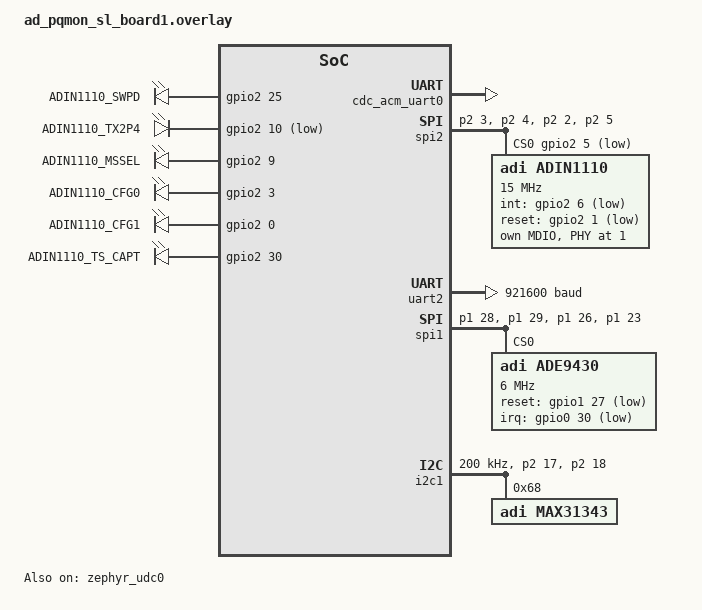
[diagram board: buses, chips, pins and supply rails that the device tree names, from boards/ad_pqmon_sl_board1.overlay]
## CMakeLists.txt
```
cmake_minimum_required(VERSION 3.20.0)
find_package(Zephyr REQUIRED HINTS $ENV{ZEPHYR_BASE})
project(pqmon_zephyr)

# DTS binding for MAX31343 RTC
list(APPEND DTS_ROOT ${CMAKE_CURRENT_SOURCE_DIR})

# USB compat shims (must come BEFORE HAL includes so wrap_max32_usb.h
# and mcr_regs.h are found before the upstream versions)
target_include_directories(zephyr_interface BEFORE INTERFACE
    ${CMAKE_CURRENT_SOURCE_DIR}/drivers/usb_compat)

# Include directories
zephyr_include_directories(drivers)
zephyr_include_directories(lib/pqlib/include)
zephyr_include_directories(src)
zephyr_include_directories(src/iio)

# Zephyr PTP subsystem internals (clock.h, port.h, ds.h, state_machine.h)
# Needed by ptp_status.c to query PTP port state and sync accuracy
target_include_directories(app PRIVATE ${ZEPHYR_BASE}/subsys/net/lib/ptp)

# Application sources
target_sources(app PRIVATE
    src/main.c
    src/no_os_shim.c
    src/afe_config.c
    src/afe_calibration.c
    src/flash_storage.c
    src/pqlib_afe.c
    src/pqlib_example.c
    src/pqlib_convert.c
    src/ptp_clock_adin1110_zephyr.c
    src/adin1110_early_init.c
    src/rtc_max31343.c
    src/iio/iiod.c
    src/iio_pqm.c
    src/iio_server.c
    src/ptp_status.c
    src/afe_sync.c
    src/uart_export.c
    src/waveform_buffer.c
)

# Link PQLib static library
target_link_libraries(app PRIVATE
    ${CMAKE_CURRENT_SOURCE_DIR}/lib/pqlib/libadi_pqlib_cm4_gcc.a
)
```

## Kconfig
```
mainmenu "PQMON IIO Application"

source "Kconfig.zephyr"

choice IIO_TRANSPORT
	prompt "IIO transport"
	default IIO_TRANSPORT_USB

config IIO_TRANSPORT_USB
	bool "USB CDC/ACM"
	depends on USB_DEVICE_STACK_NEXT && USBD_CDC_ACM_CLASS

config IIO_TRANSPORT_TCP
	bool "TCP over T1L (port 30431)"
	depends on NET_TCP && NET_SOCKETS

endchoice

config WAVEFORM_BUFFER
	bool "Waveform ring buffer"
	default n
	help
	  Enable ring buffer that captures raw ADE9430 waveform blocks
	  from the AFE thread. Required by WAVEFORM_UART_EXPORT and
	  future IIO buffer streaming.

config WAVEFORM_UART_EXPORT
	bool "Stream waveform data over UART2 (binary)"
	depends on WAVEFORM_BUFFER
	default n
	help
	  Spawn a dedicated thread that reads waveform blocks from the
	  ring buffer and streams them as binary frames over UART2.
	  The 1Hz CSV export continues independently.

config WAVEFORM_CHANNEL_MASK
	hex "Default waveform channel mask"
	depends on WAVEFORM_BUFFER
	default 0x7F
	help
	  Bitmask selecting which channels to export. Bits follow the
	  ADE9430 WFB BURST_ALL_CHAN hardware order:
	  Bit 0=IA, 1=VA, 2=IB, 3=VB, 4=IC, 5=VC, 6=IN.
	  0x7F = all 7 channels.
```

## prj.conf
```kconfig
# PQMON Shared Configuration
# Common settings for both master and slave boards
# Board-specific overrides in prj_master.conf / prj_slave.conf

# Basic Configuration
CONFIG_GPIO=y
CONFIG_SERIAL=y
CONFIG_CONSOLE=y
CONFIG_UART_CONSOLE=y
CONFIG_UART_INTERRUPT_DRIVEN=y
CONFIG_PRINTK=y

# SPI for ADIN1110 + ADE9430
CONFIG_SPI=y

# Enhanced Networking Stack for PTP
CONFIG_NETWORKING=y
CONFIG_NET_L2_ETHERNET=y
CONFIG_NET_IPV4=y
CONFIG_NET_IPV6=n
CONFIG_NET_UDP=y
CONFIG_NET_SOCKETS=y
CONFIG_POSIX_API=y

# Ethernet Driver for ADIN1110
CONFIG_ETH_ADIN2111=y
CONFIG_ETH_ADIN2111_SPI_CFG0=y
CONFIG_ETH_ADIN2111_TIMEOUT=1000

# === FULL ZEPHYR PTP SUBSYSTEM ===
CONFIG_PTP=y
CONFIG_PTP_CLOCK=y
CONFIG_PTP_CLOCK_INIT_PRIORITY=85

# PTP Protocol Configuration
CONFIG_PTP_ORDINARY_CLOCK=y
CONFIG_PTP_CLOCK_ACCURACY_100NS=y

# Network Packet Timestamping (CRITICAL for hardware timestamps)
CONFIG_NET_PKT_TIMESTAMP=y
CONFIG_NET_PKT_TIMESTAMP_THREAD=y
CONFIG_NET_PKT_TXTIME=y

# Logging
CONFIG_LOG=y
CONFIG_LOG_MAX_LEVEL=4
CONFIG_LOG_MODE_DEFERRED=y
CONFIG_ETHERNET_LOG_LEVEL_WRN=y
CONFIG_PTP_LOG_LEVEL_INF=y
CONFIG_NET_LOG=y

# Network Buffer Configuration
CONFIG_NET_BUF_RX_COUNT=32
CONFIG_NET_BUF_TX_COUNT=32
CONFIG_NET_PKT_RX_COUNT=32
CONFIG_NET_PKT_TX_COUNT=32
CONFIG_NET_MAX_CONTEXTS=10

# Stack sizes - larger for PQLib processing
CONFIG_MAIN_STACK_SIZE=8192
CONFIG_SYSTEM_WORKQUEUE_STACK_SIZE=4096

# Random number generator
# TEST_RANDOM_GENERATOR: non-cryptographic PRNG, sufficient for PTP
# (random port IDs). A production device with hardware RNG would use
# CONFIG_ENTROPY_HAS_DRIVER instead.
CONFIG_TEST_RANDOM_GENERATOR=y
CONFIG_ENTROPY_GENERATOR=y

# Memory Configuration - larger for PQLib
CONFIG_HEAP_MEM_POOL_SIZE=16384
# C library heap for iiod calloc (~7KB iiod_desc struct)
CONFIG_COMMON_LIBC_MALLOC_ARENA_SIZE=16384

# Static Network Configuration (common)
CONFIG_NET_CONFIG_SETTINGS=y
CONFIG_NET_CONFIG_NEED_IPV4=y
CONFIG_NET_CONFIG_MY_IPV4_NETMASK="255.255.255.0"
CONFIG_NET_CONFIG_MY_IPV4_GW="192.0.2.1"

# I2C for MAX31343 RTC
CONFIG_I2C=y
CONFIG_RTC=y

# Disable init priority checking — required because our custom PTP clock
# driver (adin1110_ptp_clock) uses init_priority=85 which must come after
# the ADIN1110 ethernet driver (init_priority=80), but the checker flags
# the DT parent-child relationship as a priority violation.
CONFIG_CHECK_INIT_PRIORITIES=n

# === CMSIS-DSP for PQLib ===
CONFIG_CMSIS_DSP=y
CONFIG_CMSIS_DSP_TRANSFORM=y
CONFIG_CMSIS_DSP_COMPLEXMATH=y
CONFIG_CMSIS_DSP_BASICMATH=y
CONFIG_CMSIS_DSP_FASTMATH=y
CONFIG_CMSIS_DSP_STATISTICS=y
CONFIG_CMSIS_DSP_FILTERING=y

# Float support for printf
CONFIG_CBPRINTF_FP_SUPPORT=y

# Hardware FPU - softabi to match PQLib .a (compiled without hard-float)
CONFIG_FPU=y
CONFIG_FP_SOFTABI=y

# Flash + NVS for calibration storage
CONFIG_FLASH=y
CONFIG_FLASH_MAP=y
CONFIG_NVS=y

# IIO Transport: TCP over T1L
CONFIG_NET_TCP=y
CONFIG_NET_CONTEXT_RCVTIMEO=y
CONFIG_NET_MAX_CONN=16
CONFIG_NET_TCP_TIME_WAIT_DELAY=250

# IIO Transport on USB
CONFIG_IIO_TRANSPORT_USB=y
CONFIG_USB_DEVICE_STACK_NEXT=y
CONFIG_USBD_CDC_ACM_CLASS=y

# Waveform export over UART2
# When enabled, UART2 carries binary waveform frames instead of CSV.
# CSV data remains available via IIO attributes over USB/TCP.
CONFIG_WAVEFORM_BUFFER=y
CONFIG_WAVEFORM_UART_EXPORT=y
CONFIG_WAVEFORM_CHANNEL_MASK=0x7F

# Suppress Zephyr subsystem log noise
CONFIG_USBD_LOG_LEVEL_ERR=y
CONFIG_USBD_CDC_ACM_LOG_LEVEL_ERR=y
CONFIG_UDC_DRIVER_LOG_LEVEL_ERR=y
CONFIG_PHY_LOG_LEVEL_WRN=y
CONFIG_NVS_LOG_LEVEL_WRN=y
```

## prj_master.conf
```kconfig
# PQMON Master-specific Configuration
# Use with: -DCONF_FILE="prj.conf;prj_master.conf"

# Static Network Configuration - Master
CONFIG_NET_CONFIG_MY_IPV4_ADDR="192.0.2.1"

# PTP BTCA - Master (lower = higher priority)
CONFIG_PTP_PRIORITY1=100
CONFIG_PTP_PRIORITY2=100
```

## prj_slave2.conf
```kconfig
# PQMON Slave 2 (Board 3) Configuration
# Use with: -DCONF_FILE="prj.conf;prj_slave2.conf"

# Static Network Configuration - Slave 2
CONFIG_NET_CONFIG_MY_IPV4_ADDR="192.0.2.3"

# PTP BTCA - Slave (higher = lower priority)
CONFIG_PTP_PRIORITY1=200
CONFIG_PTP_PRIORITY2=200

# Force this device to be timeReceiver only
CONFIG_PTP_TIME_RECEIVER_ONLY=y
```

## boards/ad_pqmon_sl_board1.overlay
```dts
/*
 * Device tree overlay for AD-PQMON-SL - BOARD 1
 * ADIN1110 T1L (SPI2) + ADE9430 AFE (SPI1) + MAX31343 RTC (I2C1)
 * Configured as 192.0.2.1/24 for direct T1L connection
 */

&spi2 {
	status = "okay";
	pinctrl-0 = <&spi2_miso_p2_3 &spi2_mosi_p2_4 &spi2_sck_p2_2 &spi2_ss0_p2_5>;
	pinctrl-names = "default";
	cs-gpios = <&gpio2 5 257>;  /* P2.5 - ACTIVE_LOW(1) | VDDIOH(256) */

	/* ADIN1110 10BASE-T1L MAC-PHY - BOARD 1 */
	adin1110: adin1110@0 {
		compatible = "adi,adin1110";
		reg = <0>;
		spi-max-frequency = <15000000>;
		int-gpios = <&gpio2 6 273>;  /* P2.6 - ACTIVE_LOW(1) | PULL_UP(16) | VDDIOH(256) */
		reset-gpios = <&gpio2 1 257>;  /* P2.1 - ACTIVE_LOW(1) | VDDIOH(256) */
		status = "okay";

		/* Single port configuration - BOARD 1 MAC */
		port1 {
			local-mac-address = [00 E0 22 FE DA 01];
		};

		/* MDIO for integrated PHY */
		mdio {
			compatible = "adi,adin2111-mdio";
			status = "okay";
			#address-cells = <1>;
			#size-cells = <0>;

			ethernet-phy@1 {
				reg = <0x1>;
				compatible = "adi,adin2111-phy";
				status = "okay";
			};
		};

		/* PTP Clock for hardware timestamping */
		ptp_clock {
			compatible = "adi,adin1110-ptp-clock";
			status = "okay";
		};
	};
};

/* Override SPI1 pinctrl to set VDDIOH (3.3V) for ADE9430 I/O levels.
 * Without this, pins default to VDDIO (1.8V) and ADE9430 won't respond. */
&pinctrl {
	spi1_miso_p1_28: spi1_miso_p1_28 {
		pinmux = <MAX32_PINMUX(1, 28, AF1)>;
		power-source = <MAX32_VSEL_VDDIOH>;
	};
	spi1_mosi_p1_29: spi1_mosi_p1_29 {
		pinmux = <MAX32_PINMUX(1, 29, AF1)>;
		power-source = <MAX32_VSEL_VDDIOH>;
	};
	spi1_sck_p1_26: spi1_sck_p1_26 {
		pinmux = <MAX32_PINMUX(1, 26, AF1)>;
		power-source = <MAX32_VSEL_VDDIOH>;
	};
	spi1_ss0_p1_23: spi1_ss0_p1_23 {
		pinmux = <MAX32_PINMUX(1, 23, AF1)>;
		power-source = <MAX32_VSEL_VDDIOH>;
	};
	uart2_rx_p1_9_vddioh: uart2_rx_p1_9_vddioh {
		pinmux = <MAX32_PINMUX(1, 9, AF1)>;
		power-source = <MAX32_VSEL_VDDIOH>;
	};
	uart2_tx_p1_10_vddioh: uart2_tx_p1_10_vddioh {
		pinmux = <MAX32_PINMUX(1, 10, AF1)>;
		power-source = <MAX32_VSEL_VDDIOH>;
	};
};

/* UART2 for CSV / waveform export (P1.9=RX, P1.10=TX, 921600 baud) */
&uart2 {
	status = "okay";
	current-speed = <921600>;
	pinctrl-0 = <&uart2_rx_p1_9_vddioh &uart2_tx_p1_10_vddioh>;
	pinctrl-names = "default";
};

/* SPI1 for ADE9430 Power Quality AFE
 * use hardware SS (SPI peripheral drives P1.23 via AF1).*/
&spi1 {
	status = "okay";
	pinctrl-0 = <&spi1_miso_p1_28 &spi1_mosi_p1_29 &spi1_sck_p1_26 &spi1_ss0_p1_23>;
	pinctrl-names = "default";

	ade9430: ade9430@0 {
		compatible = "adi,ade9430";
		reg = <0>;
		spi-max-frequency = <6000000>;
		reset-gpios = <&gpio1 27 273>;  /* P1.27 - ACTIVE_LOW(1) | PULL_UP(16) | VDDIOH(256) */
		irq-gpios = <&gpio0 30 273>;    /* P0.30 - IRQ0 ACTIVE_LOW(1) | PULL_UP(16) | VDDIOH(256) */
		status = "okay";
	};
};

/* Configure additional ADIN1110 control pins */
/ {
	/* Add additional RAM - use 256KB sram4 region */
	chosen {
		zephyr,sram = &sram4;
	};

	adin1110_cfg {
		compatible = "gpio-leds";

		adin_swpd: adin_swpd {
			gpios = <&gpio2 25 272>;  /* P2.25 - ACTIVE_HIGH(0) | PULL_UP(16) | VDDIOH(256) */
			label = "ADIN1110_SWPD";
		};

		adin_tx2p4: adin_tx2p4 {
			gpios = <&gpio2 10 289>;  /* P2.10 - ACTIVE_LOW(1) | PULL_DOWN(32) | VDDIOH(256) */
			label = "ADIN1110_TX2P4";
		};

		adin_mssel: adin_mssel {
			gpios = <&gpio2 9 256>;  /* P2.9 - ACTIVE_HIGH(0) | VDDIOH(256) */
			label = "ADIN1110_MSSEL";
		};

		adin_cfg0: adin_cfg0 {
			gpios = <&gpio2 3 256>;  /* P2.3 - ACTIVE_HIGH(0) | VDDIOH(256) */
			label = "ADIN1110_CFG0";
		};

		adin_cfg1: adin_cfg1 {
			gpios = <&gpio2 0 272>;  /* P2.0 - ACTIVE_HIGH(0) | PULL_UP(16) | VDDIOH(256) */
			label = "ADIN1110_CFG1";
		};

		adin_ts_capt: adin_ts_capt {
			gpios = <&gpio2 30 256>;  /* P2.30 - ACTIVE_HIGH(0) | VDDIOH(256) */
			label = "ADIN1110_TS_CAPT";
		};
	};
};

/* I2C1 for MAX31343 RTC */
&i2c1 {
	status = "okay";
	pinctrl-0 = <&i2c1_sda_p2_17 &i2c1_scl_p2_18>;
	pinctrl-names = "default";
	clock-frequency = <200000>;

	max31343: max31343@68 {
		compatible = "adi,max31343";
		reg = <0x68>;
		status = "okay";
	};
};

/* Extend SRAM region: sram4 (256KB) + sram5 (256KB) are contiguous
 * at 0x20040000..0x200BFFFF = 512KB total */
&sram4 {
	reg = <0x20040000 DT_SIZE_K(512)>;
	status = "okay";
};

/* Flash partition for NVS calibration storage.
 * MAX32650 flash: 3MB at 0x10000000, erase block = 16KB.
 * Use last 32KB (2 sectors) for NVS. */
&flash0 {
	partitions {
		compatible = "fixed-partitions";
		#address-cells = <1>;
		#size-cells = <1>;

		storage_partition: partition@2f8000 {
			label = "storage";
			reg = <0x2f8000 0x8000>;
		};
	};
};

/* USB HS peripheral for CDC/ACM (IIO transport) */
/ {
	soc {
		zephyr_udc0: usbhs@400b1000 {
			compatible = "adi,max32-usbhs";
			reg = <0x400b1000 0x1000>;
			clocks = <&gcr ADI_MAX32_CLOCK_BUS0 3>;
			interrupts = <2 0>;  /* USB_IRQn = 2 (NOT 18, which is SPI2!) */
			num-bidir-endpoints = <1>;
			num-in-endpoints = <6>;
			num-out-endpoints = <6>;
			maximum-speed = "high-speed";
			status = "okay";

			cdc_acm_uart0: cdc_acm_uart0 {
				compatible = "zephyr,cdc-acm-uart";
				tx-fifo-size = <16384>;
				rx-fifo-size = <2048>;
			};
		};
	};
};
```

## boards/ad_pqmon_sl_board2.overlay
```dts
/*
 * Device tree overlay for AD-PQMON-SL - BOARD 2
 * ADIN1110 T1L (SPI2) + ADE9430 AFE (SPI1) + MAX31343 RTC (I2C1)
 * Configured as 192.0.2.2/24 for direct T1L connection with Board 1
 */

&spi2 {
	status = "okay";
	pinctrl-0 = <&spi2_miso_p2_3 &spi2_mosi_p2_4 &spi2_sck_p2_2 &spi2_ss0_p2_5>;
	pinctrl-names = "default";
	cs-gpios = <&gpio2 5 257>;  /* P2.5 - ACTIVE_LOW(1) | VDDIOH(256) */

	/* ADIN1110 10BASE-T1L MAC-PHY - BOARD 2 */
	adin1110: adin1110@0 {
		compatible = "adi,adin1110";
		reg = <0>;
		spi-max-frequency = <15000000>;
		int-gpios = <&gpio2 6 273>;  /* P2.6 - ACTIVE_LOW(1) | PULL_UP(16) | VDDIOH(256) */
		reset-gpios = <&gpio2 1 257>;  /* P2.1 - ACTIVE_LOW(1) | VDDIOH(256) */
		status = "okay";

		/* Single port configuration - BOARD 2 MAC */
		port1 {
			local-mac-address = [00 E0 22 FE DA 02];
		};

		/* MDIO for integrated PHY */
		mdio {
			compatible = "adi,adin2111-mdio";
			status = "okay";
			#address-cells = <1>;
			#size-cells = <0>;

			ethernet-phy@1 {
				reg = <0x1>;
				compatible = "adi,adin2111-phy";
				status = "okay";
			};
		};

		/* PTP Clock for hardware timestamping */
		ptp_clock {
			compatible = "adi,adin1110-ptp-clock";
			status = "okay";
		};
	};
};

/* Override SPI1 pinctrl to set VDDIOH (3.3V) for ADE9430 I/O levels.
 * Without this, pins default to VDDIO (1.8V) and ADE9430 won't respond. */
&pinctrl {
	spi1_miso_p1_28: spi1_miso_p1_28 {
		pinmux = <MAX32_PINMUX(1, 28, AF1)>;
		power-source = <MAX32_VSEL_VDDIOH>;
	};
	spi1_mosi_p1_29: spi1_mosi_p1_29 {
		pinmux = <MAX32_PINMUX(1, 29, AF1)>;
		power-source = <MAX32_VSEL_VDDIOH>;
	};
	spi1_sck_p1_26: spi1_sck_p1_26 {
		pinmux = <MAX32_PINMUX(1, 26, AF1)>;
		power-source = <MAX32_VSEL_VDDIOH>;
	};
	spi1_ss0_p1_23: spi1_ss0_p1_23 {
		pinmux = <MAX32_PINMUX(1, 23, AF1)>;
		power-source = <MAX32_VSEL_VDDIOH>;
	};
	/* UART2 pinctrl — set VDDIOH (3.3V) for I/O levels */
	uart2_rx_p1_9_vddioh: uart2_rx_p1_9_vddioh {
		pinmux = <MAX32_PINMUX(1, 9, AF1)>;
		power-source = <MAX32_VSEL_VDDIOH>;
	};
	uart2_tx_p1_10_vddioh: uart2_tx_p1_10_vddioh {
		pinmux = <MAX32_PINMUX(1, 10, AF1)>;
		power-source = <MAX32_VSEL_VDDIOH>;
	};
};

/* UART2 for CSV / waveform export (P1.9=RX, P1.10=TX, 921600 baud) */
&uart2 {
	status = "okay";
	current-speed = <921600>;
	pinctrl-0 = <&uart2_rx_p1_9_vddioh &uart2_tx_p1_10_vddioh>;
	pinctrl-names = "default";
};

/* SPI1 for ADE9430 Power Quality AFE
 * use hardware SS (SPI peripheral drives P1.23 via AF1).*/
&spi1 {
	status = "okay";
	pinctrl-0 = <&spi1_miso_p1_28 &spi1_mosi_p1_29 &spi1_sck_p1_26 &spi1_ss0_p1_23>;
	pinctrl-names = "default";

	ade9430: ade9430@0 {
		compatible = "adi,ade9430";
		reg = <0>;
		spi-max-frequency = <6000000>;
		reset-gpios = <&gpio1 27 273>;  /* P1.27 - ACTIVE_LOW(1) | PULL_UP(16) | VDDIOH(256) */
		irq-gpios = <&gpio0 30 273>;    /* P0.30 - IRQ0 ACTIVE_LOW(1) | PULL_UP(16) | VDDIOH(256) */
		status = "okay";
	};
};

/* Configure additional ADIN1110 control pins */
/ {
	/* Add additional RAM - use 256KB sram4 region */
	chosen {
		zephyr,sram = &sram4;
	};

	adin1110_cfg {
		compatible = "gpio-leds";

		adin_swpd: adin_swpd {
			gpios = <&gpio2 25 272>;  /* P2.25 - ACTIVE_HIGH(0) | PULL_UP(16) | VDDIOH(256) */
			label = "ADIN1110_SWPD";
		};

		adin_tx2p4: adin_tx2p4 {
			gpios = <&gpio2 10 289>;  /* P2.10 - ACTIVE_LOW(1) | PULL_DOWN(32) | VDDIOH(256) */
			label = "ADIN1110_TX2P4";
		};

		adin_mssel: adin_mssel {
			gpios = <&gpio2 9 256>;  /* P2.9 - ACTIVE_HIGH(0) | VDDIOH(256) */
			label = "ADIN1110_MSSEL";
		};

		adin_cfg0: adin_cfg0 {
			gpios = <&gpio2 3 256>;  /* P2.3 - ACTIVE_HIGH(0) | VDDIOH(256) */
			label = "ADIN1110_CFG0";
		};

		adin_cfg1: adin_cfg1 {
			gpios = <&gpio2 0 272>;  /* P2.0 - ACTIVE_HIGH(0) | PULL_UP(16) | VDDIOH(256) */
			label = "ADIN1110_CFG1";
		};

		adin_ts_capt: adin_ts_capt {
			gpios = <&gpio2 30 256>;  /* P2.30 - ACTIVE_HIGH(0) | VDDIOH(256) */
			label = "ADIN1110_TS_CAPT";
		};
	};
};

/* I2C1 for MAX31343 RTC */
&i2c1 {
	status = "okay";
	pinctrl-0 = <&i2c1_sda_p2_17 &i2c1_scl_p2_18>;
	pinctrl-names = "default";
	clock-frequency = <200000>;

	max31343: max31343@68 {
		compatible = "adi,max31343";
		reg = <0x68>;
		status = "okay";
	};
};

/* Extend SRAM region: sram4 (256KB) + sram5 (256KB) are contiguous
 * at 0x20040000..0x200BFFFF = 512KB total */
&sram4 {
	reg = <0x20040000 DT_SIZE_K(512)>;
	status = "okay";
};

/* Flash partition for NVS calibration storage.
 * MAX32650 flash: 3MB at 0x10000000, erase block = 16KB.
 * Use last 32KB (2 sectors) for NVS. */
&flash0 {
	partitions {
		compatible = "fixed-partitions";
		#address-cells = <1>;
		#size-cells = <1>;

		storage_partition: partition@2f8000 {
			label = "storage";
			reg = <0x2f8000 0x8000>;
		};
	};
};

/* USB HS peripheral for CDC/ACM (IIO transport) */
/ {
	soc {
		zephyr_udc0: usbhs@400b1000 {
			compatible = "adi,max32-usbhs";
			reg = <0x400b1000 0x1000>;
			clocks = <&gcr ADI_MAX32_CLOCK_BUS0 3>;
			interrupts = <2 0>;  /* USB_IRQn = 2 (NOT 18, which is SPI2!) */
			num-bidir-endpoints = <1>;
			num-in-endpoints = <6>;
			num-out-endpoints = <6>;
			maximum-speed = "high-speed";
			status = "okay";

			cdc_acm_uart0: cdc_acm_uart0 {
				compatible = "zephyr,cdc-acm-uart";
				tx-fifo-size = <16384>;
				rx-fifo-size = <2048>;
			};
		};
	};
};
```

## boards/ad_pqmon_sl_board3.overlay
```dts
/*
 * Device tree overlay for AD-PQMON-SL - BOARD 3 (Slave 2)
 * ADIN1110 T1L (SPI2) + ADE9430 AFE (SPI1) + MAX31343 RTC (I2C1)
 * Configured as 192.0.2.3/24 for T1L connection with Board 1
 */

&spi2 {
	status = "okay";
	pinctrl-0 = <&spi2_miso_p2_3 &spi2_mosi_p2_4 &spi2_sck_p2_2 &spi2_ss0_p2_5>;
	pinctrl-names = "default";
	cs-gpios = <&gpio2 5 257>;  /* P2.5 - ACTIVE_LOW(1) | VDDIOH(256) */

	/* ADIN1110 10BASE-T1L MAC-PHY - BOARD 3 */
	adin1110: adin1110@0 {
		compatible = "adi,adin1110";
		reg = <0>;
		spi-max-frequency = <15000000>;
		int-gpios = <&gpio2 6 273>;  /* P2.6 - ACTIVE_LOW(1) | PULL_UP(16) | VDDIOH(256) */
		reset-gpios = <&gpio2 1 257>;  /* P2.1 - ACTIVE_LOW(1) | VDDIOH(256) */
		status = "okay";

		/* Single port configuration - BOARD 3 MAC */
		port1 {
			local-mac-address = [00 E0 22 FE DA 03];
		};

		/* MDIO for integrated PHY */
		mdio {
			compatible = "adi,adin2111-mdio";
			status = "okay";
			#address-cells = <1>;
			#size-cells = <0>;

			ethernet-phy@1 {
				reg = <0x1>;
				compatible = "adi,adin2111-phy";
				status = "okay";
			};
		};

		/* PTP Clock for hardware timestamping */
		ptp_clock {
			compatible = "adi,adin1110-ptp-clock";
			status = "okay";
		};
	};
};

/* Override SPI1 pinctrl to set VDDIOH (3.3V) for ADE9430 I/O levels.
 * Without this, pins default to VDDIO (1.8V) and ADE9430 won't respond. */
&pinctrl {
	spi1_miso_p1_28: spi1_miso_p1_28 {
		pinmux = <MAX32_PINMUX(1, 28, AF1)>;
		power-source = <MAX32_VSEL_VDDIOH>;
	};
	spi1_mosi_p1_29: spi1_mosi_p1_29 {
		pinmux = <MAX32_PINMUX(1, 29, AF1)>;
		power-source = <MAX32_VSEL_VDDIOH>;
	};
	spi1_sck_p1_26: spi1_sck_p1_26 {
		pinmux = <MAX32_PINMUX(1, 26, AF1)>;
		power-source = <MAX32_VSEL_VDDIOH>;
	};
	spi1_ss0_p1_23: spi1_ss0_p1_23 {
		pinmux = <MAX32_PINMUX(1, 23, AF1)>;
		power-source = <MAX32_VSEL_VDDIOH>;
	};
	/* UART2 pinctrl — set VDDIOH (3.3V) for I/O levels */
	uart2_rx_p1_9_vddioh: uart2_rx_p1_9_vddioh {
		pinmux = <MAX32_PINMUX(1, 9, AF1)>;
		power-source = <MAX32_VSEL_VDDIOH>;
	};
	uart2_tx_p1_10_vddioh: uart2_tx_p1_10_vddioh {
		pinmux = <MAX32_PINMUX(1, 10, AF1)>;
		power-source = <MAX32_VSEL_VDDIOH>;
	};
};

/* UART2 for CSV / waveform export (P1.9=RX, P1.10=TX, 921600 baud) */
&uart2 {
	status = "okay";
	current-speed = <921600>;
	pinctrl-0 = <&uart2_rx_p1_9_vddioh &uart2_tx_p1_10_vddioh>;
	pinctrl-names = "default";
};

/* SPI1 for ADE9430 Power Quality AFE
 * use hardware SS (SPI peripheral drives P1.23 via AF1).*/
&spi1 {
	status = "okay";
	pinctrl-0 = <&spi1_miso_p1_28 &spi1_mosi_p1_29 &spi1_sck_p1_26 &spi1_ss0_p1_23>;
	pinctrl-names = "default";

	ade9430: ade9430@0 {
		compatible = "adi,ade9430";
		reg = <0>;
		spi-max-frequency = <6000000>;
		reset-gpios = <&gpio1 27 273>;  /* P1.27 - ACTIVE_LOW(1) | PULL_UP(16) | VDDIOH(256) */
		irq-gpios = <&gpio0 30 273>;    /* P0.30 - IRQ0 ACTIVE_LOW(1) | PULL_UP(16) | VDDIOH(256) */
		status = "okay";
	};
};

/* Configure additional ADIN1110 control pins */
/ {
	/* Add additional RAM - use 256KB sram4 region */
	chosen {
		zephyr,sram = &sram4;
	};

	adin1110_cfg {
		compatible = "gpio-leds";

		adin_swpd: adin_swpd {
			gpios = <&gpio2 25 272>;  /* P2.25 - ACTIVE_HIGH(0) | PULL_UP(16) | VDDIOH(256) */
			label = "ADIN1110_SWPD";
		};

		adin_tx2p4: adin_tx2p4 {
			gpios = <&gpio2 10 289>;  /* P2.10 - ACTIVE_LOW(1) | PULL_DOWN(32) | VDDIOH(256) */
			label = "ADIN1110_TX2P4";
		};

		adin_mssel: adin_mssel {
			gpios = <&gpio2 9 256>;  /* P2.9 - ACTIVE_HIGH(0) | VDDIOH(256) */
			label = "ADIN1110_MSSEL";
		};

		adin_cfg0: adin_cfg0 {
			gpios = <&gpio2 3 256>;  /* P2.3 - ACTIVE_HIGH(0) | VDDIOH(256) */
			label = "ADIN1110_CFG0";
		};

		adin_cfg1: adin_cfg1 {
			gpios = <&gpio2 0 272>;  /* P2.0 - ACTIVE_HIGH(0) | PULL_UP(16) | VDDIOH(256) */
			label = "ADIN1110_CFG1";
		};

		adin_ts_capt: adin_ts_capt {
			gpios = <&gpio2 30 256>;  /* P2.30 - ACTIVE_HIGH(0) | VDDIOH(256) */
			label = "ADIN1110_TS_CAPT";
		};
	};
};

/* I2C1 for MAX31343 RTC */
&i2c1 {
	status = "okay";
	pinctrl-0 = <&i2c1_sda_p2_17 &i2c1_scl_p2_18>;
	pinctrl-names = "default";
	clock-frequency = <200000>;

	max31343: max31343@68 {
		compatible = "adi,max31343";
		reg = <0x68>;
		status = "okay";
	};
};

/* Extend SRAM region: sram4 (256KB) + sram5 (256KB) are contiguous
 * at 0x20040000..0x200BFFFF = 512KB total */
&sram4 {
	reg = <0x20040000 DT_SIZE_K(512)>;
	status = "okay";
};

/* Flash partition for NVS calibration storage.
 * MAX32650 flash: 3MB at 0x10000000, erase block = 16KB.
 * Use last 32KB (2 sectors) for NVS. */
&flash0 {
	partitions {
		compatible = "fixed-partitions";
		#address-cells = <1>;
		#size-cells = <1>;

		storage_partition: partition@2f8000 {
			label = "storage";
			reg = <0x2f8000 0x8000>;
		};
	};
};

/* USB HS peripheral for CDC/ACM (IIO transport) */
/ {
	soc {
		zephyr_udc0: usbhs@400b1000 {
			compatible = "adi,max32-usbhs";
			reg = <0x400b1000 0x1000>;
			clocks = <&gcr ADI_MAX32_CLOCK_BUS0 3>;
			interrupts = <2 0>;  /* USB_IRQn = 2 (NOT 18, which is SPI2!) */
			num-bidir-endpoints = <1>;
			num-in-endpoints = <6>;
			num-out-endpoints = <6>;
			maximum-speed = "high-speed";
			status = "okay";

			cdc_acm_uart0: cdc_acm_uart0 {
				compatible = "zephyr,cdc-acm-uart";
				tx-fifo-size = <16384>;
				rx-fifo-size = <2048>;
			};
		};
	};
};
```

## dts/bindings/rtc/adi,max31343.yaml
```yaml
# Copyright (c) 2026 Analog Devices, Inc.
# SPDX-License-Identifier: Apache-2.0

description: MAX31343, Ultra-Low-Power I2C Real-Time Clock.

compatible: "adi,max31343"

include: [rtc-device.yaml, i2c-device.yaml]

properties:
  reg:
    required: true
```

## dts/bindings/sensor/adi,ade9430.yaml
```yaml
description: Analog Devices ADE9430 Power Quality AFE

compatible: "adi,ade9430"

include: spi-device.yaml

properties:
  reset-gpios:
    type: phandle-array
    required: true
    description: GPIO connected to ADE9430 reset pin (active low)

  irq-gpios:
    type: phandle-array
    required: false
    description: GPIO connected to ADE9430 IRQ0 pin (active low, COH_PAGE_RDY interrupt)
```

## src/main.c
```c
/*
 * PQMON Zephyr Application
 *
 * Combines PTP time synchronization with ADE9430 power quality monitoring.
 *
 * Boot flow:
 *   1. Wait for network interface
 *   2. Start IIO server (TCP or USB)
 *   3. Verify PTP clock + RTC devices
 *   4. Init TS_CAPT, 1PPS, TS_TIMER IRQ
 *   5. Init ADE9430 AFE + PQLib, start measurement
 *   6. Enable PQLib 1PPS sync + arm RTC sync
 *   7. Main loop: poll AFE, process PQLib, log PTP status
 *
 * PQ measurements start immediately — PTP convergence happens in
 * the background.
 */

#include <zephyr/kernel.h>
#include <zephyr/device.h>
#include <zephyr/net/net_if.h>
#include <zephyr/net/ptp_time.h>
#include <zephyr/drivers/ptp_clock.h>
#include <zephyr/drivers/rtc.h>
#include <zephyr/logging/log.h>
#include <stdio.h>
#include <time.h>

#include "ptp_clock_adin1110_hw.h"
#include "rtc_max31343.h"
#include "pqlib_example.h"
#include "pqlib_afe.h"
#include "afe_calibration.h"
#include "flash_storage.h"
#include "iio_server.h"
#include "ptp_status.h"
#include "afe_sync.h"
#include "uart_export.h"

LOG_MODULE_REGISTER(pqmon_app, LOG_LEVEL_INF);

/* 1PPS configuration: 500ms high + 500ms low = 1Hz */
#define TS_TIMER_1PPS_HI_NS    500000000U
#define TS_TIMER_1PPS_LO_NS    500000000U
#define TS_TIMER_START_NS      16U

/* TS_TIMER re-alignment: wait until PTP offset is below 200ns.
 * The 1PPS phase is locked at re-alignment time, so this must be tight. */
#define TS_TIMER_REALIGN_THRESHOLD_NS  200
/* Require this many consecutive readings below threshold before
 * re-aligning. Prevents false triggers during PI servo oscillation. */
#define TS_TIMER_STABLE_COUNT          4

/* Minimum uptime before trusting GRAND_MASTER convergence.
 * BMCA resolves in ~5-10s (3 announce intervals at 1Hz).
 * 20s gives margin — if still GM after this, it's the real GM. */
#define PTP_BMCA_SETTLE_MS  20000

#define PTP_CLOCK_NODE DT_INST(0, adi_adin1110_ptp_clock)
static const struct device *ptp_clock_dev = DEVICE_DT_GET(PTP_CLOCK_NODE);

#define RTC_NODE DT_NODELABEL(max31343)
static const struct device *rtc_dev = DEVICE_DT_GET(RTC_NODE);

/* Declared in pqlib_example.c - PTP time in ms for SyncLibTime */
extern volatile int64_t ptp_time_ms;
extern volatile uint8_t newSyncTimeAvailable;

static void wait_for_network(void)
{
	struct net_if *iface;
	int timeout = 100;

	do {
		k_sleep(K_MSEC(100));
		iface = net_if_get_default();
		timeout--;
	} while ((!iface || !net_if_is_up(iface)) && timeout > 0);

	if (!iface || !net_if_is_up(iface)) {
		LOG_ERR("Network interface failed to initialize");
	}
}

/**
 * @brief Update PQLib time from PTP syntonized counter via TS_CAPT
 */
static void update_pqlib_time(void)
{
	struct net_ptp_time capt;

	if (adin1110_ptp_capture_timestamp(&capt) == 0) {
		ptp_time_ms = (int64_t)capt.second * 1000LL +
			      capt.nanosecond / 1000000;
		newSyncTimeAvailable = 1;
	}
}

int main(void)
{
	bool ts_timer_enabled = false;
	bool ts_capt_ready = false;
	bool rtc_ready = false;
	bool rtc_irq_sync_ready = false;
	bool afe_initialized = false;
	bool pqlib_initialized = false;
	bool measurement_started = false;
	bool events_enabled = false;
	bool ts_timer_realigned = false;
	bool afe_sync_inited = false;
	bool afe_sync_ready_sent = false;
	int64_t uart_export_next_ms = 0;
	int ts_timer_stable_count = 0;
	int status;
	int ret;

	printk("\n\n=== PQMON BOOT ===\n\n");
	printf("PQMON: starting (PTP priority1=%d)\n",
	       CONFIG_PTP_PRIORITY1);

	/* --- Phase 1: Network + IIO server --- */
	wait_for_network();

	ret = iio_server_init();
	if (ret == 0) {
		printf("IIO: server started OK\n");
	} else {
		printf("IIO: server init FAILED (%d)\n", ret);
	}

	/* UART2 CSV export */
	ret = uart_export_init();
	if (ret != 0) {
		printf("UART2: CSV export disabled (%d)\n", ret);
	}

#if IS_ENABLED(CONFIG_WAVEFORM_UART_EXPORT)
	/* Waveform binary export over UART2 (takes over UART2 from CSV).
	 * CSV data remains available via IIO attributes. */
	waveform_uart_export_init();
#endif

	/* --- Phase 2: Verify devices --- */
	if (!device_is_ready(ptp_clock_dev)) {
		printf("PTP: clock device not ready\n");
		return -ENODEV;
	}
	printf("PTP: clock device ready\n");

	if (!device_is_ready(rtc_dev)) {
		printf("RTC: MAX31343 not ready - sync disabled\n");
	} else {
		rtc_ready = true;
		printf("RTC: MAX31343 ready\n");
	}

	/* --- Phase 3: Init 1PPS, TS_CAPT, TS_TIMER IRQ --- */
	ret = adin1110_ptp_ts_capt_init();
	if (ret == 0) {
		ts_capt_ready = true;
		printf("TS_CAPT: initialized (P2.30)\n");
	} else {
		printf("TS_CAPT: init FAILED (%d)\n", ret);
	}

	ret = adin1110_ptp_configure_ts_timer(
		TS_TIMER_1PPS_HI_NS, TS_TIMER_1PPS_LO_NS, TS_TIMER_START_NS);
	if (ret == 0) {
		ts_timer_enabled = true;
		printf("1PPS: enabled on P2.9\n");
	} else {
		printf("1PPS: enable FAILED (%d)\n", ret);
	}

	if (rtc_ready && ts_capt_ready && ts_timer_enabled) {
		ret = adin1110_ptp_ts_timer_irq_init(rtc_dev);
		if (ret == 0) {
			rtc_irq_sync_ready = true;
			printf("TS_TIMER: IRQ sync ready\n");
		} else {
			printf("TS_TIMER: IRQ init FAILED (%d)\n", ret);
		}
	}

	/* --- Phase 4: Init AFE + PQLib --- */
	printf("AFE: initializing...\n");
	status = afe_init();
	if (status == 0) {
		afe_initialized = true;
		printf("AFE: init OK\n");
	} else {
		printf("AFE: init FAILED (%d)\n", status);
	}

	if (afe_initialized) {
		printf("PQLib: opening...\n");
		status = pqm_measurement_init();
		if (status == 0) {
			pqlib_initialized = true;
			printf("PQLib: init OK\n");
		} else {
			printf("PQLib: init FAILED (%d)\n", status);
		}
	}

	/* --- Phase 5: Start measurement + enable sync --- */
	if (pqlib_initialized && ts_capt_ready) {
		update_pqlib_time();
		printf("PQLib: starting measurement...\n");
		status = pqm_start_measurement(false);
		if (status == 0) {
			measurement_started = true;
			printf("PQLib: measurement started\n");

			/* Configure GPIO interrupt on ADE9430 IRQ0 (P0.30).
			 * The AFE thread will block on this instead of spinning,
			 * so STATUS0 is cleared within microseconds of assertion. */
			ret = afe_irq_init();
			if (ret != 0) {
				printf("AFE IRQ init FAILED (%d) — "
				       "falling back to polling\n", ret);
			}

			/* Start dedicated AFE processing thread. */
			pqm_afe_thread_start();

			/* Enable 1PPS-driven PQLib time sync.
			 * Even before PTP converges, the initial seed
			 * time provides a reasonable epoch. PTP will
			 * correct it as sync messages arrive. */
			adin1110_ptp_enable_pqlib_sync();
		} else {
			printf("PQLib: start FAILED (%d)\n", status);
		}
	}

	/* Arm RTC sync — will fire on first 1PPS after PTP has time */
	if (rtc_irq_sync_ready) {
		adin1110_ptp_arm_rtc_sync();
		printf("RTC: sync armed\n");
	}

	/* --- Phase 6: Main loop --- */
	printf("Entering main loop (%s)\n",
	       measurement_started ? "PQM active" : "PQM init failed");

	while (1) {
		if (measurement_started) {
			/* AFE polling and PQLib processing now run in the
			 * dedicated AFE thread. Main loop only handles:
			 * - PTP convergence checks
			 * - TS_TIMER re-alignment
			 * - Event accumulation gating
			 * - AFE sync orchestration */

			/* Main loop is no longer time-critical */
			k_msleep(10);

			/* UART2 CSV export — once per second */
			if (k_uptime_get() >= uart_export_next_ms) {
				uart_export_send();
				uart_export_next_ms = k_uptime_get() + 1000;
			}
		} else {
			/* PQM init failed — just idle */
			k_sleep(K_SECONDS(5));
		}

		/* PQLib time sync is now handled by TS_TIMER 1PPS ISR —
		 * ptp_time_ms is updated every second at exact PTP boundary.
		 * SyncLibTime() in process_and_prepare_output() picks it up. */

		/* Event accumulation: enable once PTP is truly operational.
		 *
		 * TIME_RECEIVER: require servo_active (rate_adjust called
		 * by PI servo) + converged.
		 *
		 * GRAND_MASTER: the GM's servo never runs, so servo_active
		 * is never true. Instead, wait for BMCA to settle: if the
		 * board is still converged after PTP_BMCA_SETTLE_MS, it's
		 * the real GM (the slave would have transitioned to TR by
		 * then). BMCA resolves in ~5-10s; 20s gives margin. */
		if (!events_enabled) {
			struct ptp_sync_status ptp_st;

			if (ptp_get_sync_status(&ptp_st) == 0 &&
			    ptp_st.converged) {
				if (adin1110_ptp_servo_active() ||
				    k_uptime_get() > PTP_BMCA_SETTLE_MS) {
					pqlib_enable_event_accumulation();
					events_enabled = true;
				}
			}
		}

		/* Re-align TS_TIMER only on TIME_RECEIVER after the
		 * PI servo is active and offset has been stable below
		 * 200ns for TS_TIMER_STABLE_COUNT consecutive readings.
		 * A single reading below threshold can be a transient
		 * zero-crossing during the servo's damped oscillation.
		 * The GRAND_MASTER's TS_TIMER from boot is the reference;
		 * the slave aligns to it. */
		if (!ts_timer_realigned && ts_timer_enabled &&
		    adin1110_ptp_servo_active()) {
			struct ptp_sync_status ptp_st;

			if (ptp_get_sync_status(&ptp_st) == 0 &&
			    ptp_st.port_state == PTP_PORT_STATE_TIME_RECEIVER) {
				int64_t abs_off = ptp_st.offset_from_tt;

				if (abs_off < 0) {
					abs_off = -abs_off;
				}

				if (abs_off < TS_TIMER_REALIGN_THRESHOLD_NS) {
					ts_timer_stable_count++;
				} else {
					ts_timer_stable_count = 0;
				}

				if (ts_timer_stable_count >=
				    TS_TIMER_STABLE_COUNT) {
					adin1110_ptp_stop_ts_timer();
					k_msleep(10);
					ret = adin1110_ptp_configure_ts_timer(
						TS_TIMER_1PPS_HI_NS,
						TS_TIMER_1PPS_LO_NS,
						TS_TIMER_START_NS);
					if (ret == 0) {
						LOG_INF("TS_TIMER re-aligned "
							"(offset=%lldns "
							"delay=%lldns, "
							"stable=%d)",
							(long long)ptp_st.offset_from_tt,
							(long long)ptp_st.mean_delay,
							ts_timer_stable_count);
					}
					ts_timer_realigned = true;
				}
			}
		}

		/* AFE sync: initialize once we know our PTP role.
		 * Master (GRAND_MASTER) listens for slave READY.
		 * Slave (TIME_RECEIVER) will send READY after TS_TIMER realign. */
		if (!afe_sync_inited && events_enabled) {
			struct ptp_sync_status ptp_st;

			if (ptp_get_sync_status(&ptp_st) == 0 &&
			    ptp_st.converged) {
				bool is_master = (ptp_st.port_state !=
						  PTP_PORT_STATE_TIME_RECEIVER);
				/* Master discovers slaves dynamically (NULL peer);
				 * slaves always target the master at 192.0.2.1. */
				const char *peer = is_master ?
					NULL : "192.0.2.1";
				ret = afe_sync_init(is_master, peer);
				if (ret == 0) {
					afe_sync_inited = true;
				} else {
					LOG_WRN("AFE sync init failed: %d "
						"(continuing without sync)",
						ret);
					afe_sync_inited = true;  /* Don't retry */
				}
			}
		}

		/* AFE sync: slave sends READY after TS_TIMER is realigned.
		 * This ensures PTP offset < 200ns and 1PPS edges are aligned
		 * before we attempt the synchronized AFE restart. */
		if (afe_sync_inited && ts_timer_realigned &&
		    !afe_sync_ready_sent && !afe_sync_is_complete()) {
			struct ptp_sync_status ptp_st;

			if (ptp_get_sync_status(&ptp_st) == 0 &&
			    ptp_st.port_state == PTP_PORT_STATE_TIME_RECEIVER &&
			    (ptp_st.offset_from_tt >= 0 ?
			     ptp_st.offset_from_tt : -ptp_st.offset_from_tt) <
			    TS_TIMER_REALIGN_THRESHOLD_NS) {
				afe_sync_send_ready();
				afe_sync_ready_sent = true;
			}
		}

	}

	return 0;
}
```

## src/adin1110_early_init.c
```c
/*
 * Copyright (c) 2025 Analog Devices, Inc.
 * SPDX-License-Identifier: Apache-2.0
 *
 * Early initialization for ADIN1110 configuration pins
 * Must run before SPI/Ethernet drivers
 */

#include <zephyr/kernel.h>
#include <zephyr/device.h>
#include <zephyr/drivers/gpio.h>
#include <zephyr/init.h>
#include <zephyr/logging/log.h>

LOG_MODULE_REGISTER(adin1110_early_init, LOG_LEVEL_INF);

/* ADIN1110 Configuration pins on Port 2 */
#define RESET_PIN    1  /* Hardware Reset (active low) */
#define SWPD_PIN    25  /* Software Power Down Enable */
#define TX2P4_PIN   10  /* 2.4V Transmit Amplitude Enable */
#define MSSEL_PIN    9  /* Master/Slave Select */
#define CFG0_PIN     3  /* Configuration 0 (shared with SPI_MISO) */
#define CFG1_PIN     0  /* Configuration 1 */

#define GPIO_VDDIOH  0x200  /* MAX32_GPIO_VSEL_VDDIOH flag */

static int adin1110_pins_early_init(void)
{
	const struct device *gpio2 = DEVICE_DT_GET(DT_NODELABEL(gpio2));
	int ret;

	if (!device_is_ready(gpio2)) {
		/* Too early, GPIO not ready yet */
		return -ENODEV;
	}

	/* Don't touch the reset pin - let the driver handle it */

	/* Configure SWPD (P2.25) = HIGH to enable normal operation */
	ret = gpio_pin_configure(gpio2, SWPD_PIN,
				 GPIO_OUTPUT_HIGH | GPIO_VDDIOH);
	if (ret < 0) {
		LOG_ERR("Failed to configure SWPD: %d", ret);
		return ret;
	}

	/* Configure TX2P4 (P2.10) = LOW initially */
	ret = gpio_pin_configure(gpio2, TX2P4_PIN,
				 GPIO_OUTPUT_LOW | GPIO_VDDIOH);
	if (ret < 0) {
		LOG_ERR("Failed to configure TX2P4: %d", ret);
		return ret;
	}

	/* Configure MSSEL (P2.9) = HIGH (no-OS uses HIGH) */
	ret = gpio_pin_configure(gpio2, MSSEL_PIN,
				 GPIO_OUTPUT_HIGH | GPIO_VDDIOH);
	if (ret < 0) {
		LOG_ERR("Failed to configure MSSEL: %d", ret);
		return ret;
	}

	/* Configure CFG1 (P2.0) = HIGH for Generic SPI mode */
	ret = gpio_pin_configure(gpio2, CFG1_PIN,
				 GPIO_OUTPUT_HIGH | GPIO_VDDIOH);
	if (ret < 0) {
		LOG_ERR("Failed to configure CFG1: %d", ret);
		return ret;
	}

	/* CFG0 (P2.3) is shared with SPI_MISO and will be configured by SPI driver.
	 * The ADIN1110 samples CFG0/CFG1 at power-up or reset.
	 * With CFG1=HIGH, the mode is determined by CFG0 state at that time. */

	LOG_DBG("ADIN1110 control pins configured: SWPD=1, TX2P4=0, MSSEL=1, CFG1=1");

	/* Small delay to ensure pins are stable */
	k_busy_wait(1000); /* 1ms */

	return 0;
}

/* Run at POST_KERNEL priority 40, before SPI (priority 70) and Ethernet (priority 80) */
SYS_INIT(adin1110_pins_early_init, POST_KERNEL, 40);
```

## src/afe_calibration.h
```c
/*******************************************************************************
 *   @file   afe_calibration.h
 *   @brief  ADE9430 calibration header file
 *   @author Radu Etz (radu.etz@analog.com)
 ********************************************************************************
 * Copyright (c) 2026 Analog Devices, Inc.
 *
 * Redistribution and use in source and binary forms, with or without
 * modification, are permitted provided that the following conditions are met:
 *
 * 1. Redistributions of source code must retain the above copyright notice,
 *    this list of conditions and the following disclaimer.
 *
 * 2. Redistributions in binary form must reproduce the above copyright notice,
 *    this list of conditions and the following disclaimer in the documentation
 *    and/or other materials provided with the distribution.
 *
 * 3. Neither the name of Analog Devices, Inc. nor the names of its
 *    contributors may be used to endorse or promote products derived from this
 *    software without specific prior written permission.
 *
 * THIS SOFTWARE IS PROVIDED BY ANALOG DEVICES, INC. "AS IS" AND ANY EXPRESS OR
 * IMPLIED WARRANTIES, INCLUDING, BUT NOT LIMITED TO, THE IMPLIED WARRANTIES OF
 * MERCHANTABILITY AND FITNESS FOR A PARTICULAR PURPOSE ARE DISCLAIMED. IN NO
 * EVENT SHALL ANALOG DEVICES, INC. BE LIABLE FOR ANY DIRECT, INDIRECT,
 * INCIDENTAL, SPECIAL, EXEMPLARY, OR CONSEQUENTIAL DAMAGES (INCLUDING, BUT NOT
 * LIMITED TO, PROCUREMENT OF SUBSTITUTE GOODS OR SERVICES; LOSS OF USE, DATA,
 * OR PROFITS; OR BUSINESS INTERRUPTION) HOWEVER CAUSED AND ON ANY THEORY OF
 * LIABILITY, WHETHER IN CONTRACT, STRICT LIABILITY, OR TORT (INCLUDING
 * NEGLIGENCE OR OTHERWISE) ARISING IN ANY WAY OUT OF THE USE OF THIS SOFTWARE,
 * EVEN IF ADVISED OF THE POSSIBILITY OF SUCH DAMAGE.
 *******************************************************************************/

#ifndef __AFE_CALIBRATION_H__
#define __AFE_CALIBRATION_H__

#include <stdint.h>
#include <stdbool.h>

/* Calibration constants */
#define ADI_PQLIB_MAX_RMS_VALUE_CAL     52702092
#define CALIBRATION_CYCLES_50HZ         150
#define CALIBRATION_CYCLES_60HZ         180
#define SQRT_2                          1.41421356f
#define GAIN_SCALE_FACTOR               (1LL << 27)  /* 2^27 */
#define OFFSET_SCALE_FACTOR             (1LL << 15)  /* 2^15 */

/* 24-bit signed register limits for offset registers */
#define OFFSET_REG_MAX                  ((1L << 23) - 1)   /* +8388607 */
#define OFFSET_REG_MIN                  (-(1L << 23))      /* -8388608 */

/**
 * @brief Calibration state machine states
 */
typedef enum {
	CALIBRATION_STATE_IDLE,
	CALIBRATION_STATE_INIT,
	CALIBRATION_STATE_COLLECTING,
	CALIBRATION_STATE_CALCULATING,
	CALIBRATION_STATE_CALCULATE_ERROR_BEFORE,
	CALIBRATION_STATE_WRITING,
	CALIBRATION_STATE_VERIFY_COLLECTING,
	CALIBRATION_STATE_VERIFY_CALCULATING,
	CALIBRATION_STATE_DONE,
	CALIBRATION_STATE_ERROR
} CALIBRATION_STATE;

/**
 * @brief Calibration type (gain or offset)
 */
typedef enum {
	CALIBRATION_TYPE_GAIN,
	CALIBRATION_TYPE_OFFSET
} CALIBRATION_TYPE;

/**
 * @brief Phase selection for calibration
 */
typedef enum {
	CALIBRATION_PHASE_A = 0,
	CALIBRATION_PHASE_B = 1,
	CALIBRATION_PHASE_C = 2
} CALIBRATION_PHASE;

/**
 * @brief Calibration input parameters (user-provided values)
 */
typedef struct {
	float nominal_current;      /* Arms - for gain calibration */
	float nominal_voltage;      /* Vrms - for gain calibration */
	float offset_current;       /* Arms - for offset calibration */
	float offset_voltage;       /* Vrms - for offset calibration */
	float current_pga_gain;     /* PGA gain for current (default 1) */
	float voltage_pga_gain;     /* PGA gain for voltage (default 1) */
	float current_scale;        /* Current scale factor */
	float voltage_scale;        /* Voltage scale factor */
	int32_t i_gain_init;             /* Initial current gain coefficient */
	int32_t v_gain_init;             /* Initial voltage gain coefficient */
	int32_t i_rmsos_init;            /* Initial current RMS offset */
	int32_t v_rmsos_init;            /* Initial voltage RMS offset */
	int32_t if_rmsos_init;           /* Initial current fundamental RMS offset */
	int32_t vf_rmsos_init;           /* Initial voltage fundamental RMS offset */
} CALIBRATION_INPUT;

/**
 * @brief Calibration results (computed values)
 */
typedef struct {
	int32_t i_gain;             /* Computed current gain coefficient */
	int32_t v_gain;             /* Computed voltage gain coefficient */
	int32_t i_rmsos;            /* Computed current RMS offset */
	int32_t v_rmsos;            /* Computed voltage RMS offset */
	int32_t if_rmsos;           /* Computed current fundamental RMS offset */
	int32_t vf_rmsos;           /* Computed voltage fundamental RMS offset */
	/* Gain calibration errors (persistent) */
	float gain_i_error_before;  /* Gain cal: current error before */
	float gain_v_error_before;  /* Gain cal: voltage error before */
	float gain_i_error_after;   /* Gain cal: current error after */
	float gain_v_error_after;   /* Gain cal: voltage error after */
	/* Offset calibration errors (persistent) */
	float offset_i_error_before; /* Offset cal: current error before */
	float offset_v_error_before; /* Offset cal: voltage error before */
	float offset_i_error_after;  /* Offset cal: current error after */
	float offset_v_error_after;  /* Offset cal: voltage error after */
	bool done;                  /* Calibration complete flag */
} CALIBRATION_RESULT;

/**
 * @brief Calibration state structure (runtime state)
 */
typedef struct {
	CALIBRATION_STATE state;
	CALIBRATION_TYPE type;
	CALIBRATION_PHASE phase;
	uint16_t cycle_count;
	uint16_t target_cycles;
	int64_t irms_sum;
	int64_t irms_sum_no_gain;
	int64_t irms_sum_no_off;
	int64_t vrms_sum;
	int64_t vrms_sum_no_gain;
	int64_t vrms_sum_no_off;
	int64_t ifrms_sum;
	int64_t ifrms_sum_no_off;
	int64_t vfrms_sum;
	int64_t vfrms_sum_no_off;
	uint32_t irms_expected;
	uint32_t vrms_expected;
	uint32_t irms_measured;
	uint32_t irms_measured_no_gain;
	uint32_t irms_measured_no_off;
	uint32_t vrms_measured;
	uint32_t vrms_measured_no_gain;
	uint32_t vrms_measured_no_off;
	uint32_t ifrms_measured;
	uint32_t ifrms_measured_no_off;
	uint32_t vfrms_measured;
	uint32_t vfrms_measured_no_off;
	CALIBRATION_INPUT input;
	CALIBRATION_RESULT result;
} CALIBRATION_CONTEXT;

/* Global calibration context */
extern CALIBRATION_CONTEXT calibrationCtx;

void calibration_init(void);
int calibration_start(CALIBRATION_TYPE type, CALIBRATION_PHASE phase);
int calibration_process_cycle(void);
bool calibration_is_active(void);
bool calibration_is_done(void);
void calibration_clear_done(void);
const char *calibration_get_status_string(void);

uint32_t calculate_expected_irms(const CALIBRATION_INPUT *input,
				 float rms_value);
uint32_t calculate_expected_vrms(const CALIBRATION_INPUT *input,
				 float rms_value);
int32_t calculate_gain(int32_t expected, int32_t measured);
int32_t calculate_rms_without_gain(int32_t measured, int32_t gain);
int32_t calculate_rmsos(int32_t expected, int32_t measured);
int32_t calculate_rms_without_rmsos(int32_t measured, int32_t xrmsos);
float calculate_error(int32_t measured, int32_t expected);

#endif /* __AFE_CALIBRATION_H__ */
```

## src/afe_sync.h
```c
/*
 * afe_sync.h - Synchronized ADE9430 start via UDP + PTP 1PPS
 *
 * Coordinates both boards to restart their AFEs at the same PTP-synchronized
 * 1PPS edge, aligning cycle boundaries for sub-ms event correlation.
 *
 * Protocol: Slave sends AFE_SYNC_READY after PTP convergence,
 * master replies with AFE_SYNC_GO containing a target PTP second.
 * Both boards restart their AFE at the 1PPS edge matching that second.
 */
#ifndef AFE_SYNC_H
#define AFE_SYNC_H

#include <stdbool.h>
#include <stdint.h>

#define AFE_SYNC_UDP_PORT     9999
#define AFE_SYNC_MAGIC        0x41464553U  /* "AFES" */

/* Message types */
#define AFE_SYNC_READY        1  /* Slave → Master: PTP converged, ready to sync */
#define AFE_SYNC_GO           2  /* Master → Slave: restart AFE at target_sec */

/* Wire format (9 bytes, packed) */
struct afe_sync_msg {
	uint32_t magic;
	uint8_t  type;
	uint32_t target_sec;  /* Only meaningful in AFE_SYNC_GO */
} __packed;

/**
 * Initialize AFE sync subsystem.
 * Creates UDP socket and starts listener thread on both roles.
 *
 * @param is_master  true for GRAND_MASTER, false for TIME_RECEIVER
 * @param peer_ip    Slave: master IP ("192.0.2.1"). Master: NULL — slaves are
 *                   discovered dynamically from incoming READY messages.
 * @return 0 on success, negative errno on failure
 */
int afe_sync_init(bool is_master, const char *peer_ip);

/**
 * Called by slave after PTP convergence + TS_TIMER realignment.
 * Sends AFE_SYNC_READY to the master and starts retry timer.
 */
void afe_sync_send_ready(void);

/**
 * Check if the AFE sync restart has completed.
 * @return true if both boards have restarted their AFE in sync
 */
bool afe_sync_is_complete(void);

/**
 * Check if AFE sync restart should fire on this 1PPS edge.
 * Called from the 1PPS handler thread with the captured PTP second.
 *
 * @param ptp_sec  The PTP second captured at this 1PPS edge
 * @return true if the restart was triggered on this edge
 */
bool afe_sync_check_1pps(uint32_t ptp_sec);

/**
 * Check if a synchronized AFE restart was requested by the 1PPS handler.
 * Called from the AFE thread on each iteration. If a restart is pending,
 * performs afe_wait_settling() + PQLib state reset and marks sync complete.
 *
 * @return true if restart was performed
 */
bool afe_sync_check_restart(void);

#endif /* AFE_SYNC_H */
```

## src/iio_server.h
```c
/*
 * iio_server.h - IIOD server with selectable transport for Zephyr
 */
#ifndef IIO_SERVER_H
#define IIO_SERVER_H

#include <zephyr/kernel.h>

/**
 * Mutex protecting PQLib output data from torn reads.
 * The main loop must hold this while calling pqm_one_cycle() and
 * reading pqlibExample.output for printing.
 * IIO attribute read/write callbacks acquire it internally.
 */
extern struct k_mutex pqm_data_mutex;

/**
 * Initialize transport and start the IIOD server thread.
 * Returns 0 on success, negative errno on failure.
 */
int iio_server_init(void);

#endif /* IIO_SERVER_H */
```
